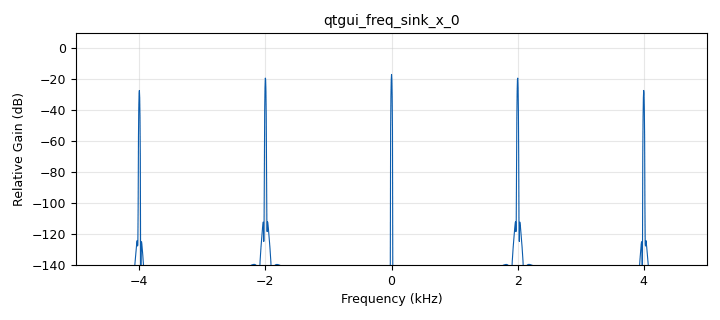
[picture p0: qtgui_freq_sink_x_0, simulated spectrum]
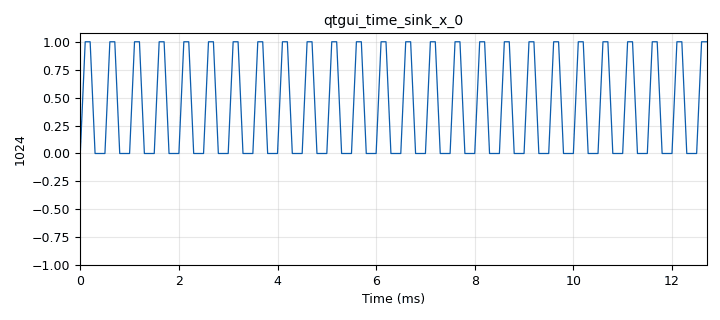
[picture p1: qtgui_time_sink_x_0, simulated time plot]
options:
  parameters:
    author: Kevin_Tellez_B1A_G6
    generate_options: qt_gui
    id: Lab_comu_1
    output_language: python
    title: Practica_1A.2
  states: {}

blocks:
- name: freq
  id: variable_qtgui_range
  parameters:
    label: Frequency
    start: 1e3
    step: 1e3
    stop: 40e3
    value: 2e3
  states: {}
- name: samp_rate
  id: variable_qtgui_range
  parameters:
    label: frecuencia de muestreo
    start: 1e3
    step: 1e3
    stop: 80e3
    value: 10e3
  states: {}
- name: analog_sig_source_x_0
  id: analog_sig_source_x
  parameters:
    amp: '1'
    freq: freq
    offset: '0'
    phase: '0'
    samp_rate: samp_rate
    type: float
    waveform: analog.GR_SQR_WAVE
  states: {}
- name: blocks_throttle2_0
  id: blocks_throttle2
  parameters:
    samples_per_second: samp_rate
    type: float
  states: {}
- name: qtgui_freq_sink_x_0
  id: qtgui_freq_sink_x
  parameters:
    bw: samp_rate
    fc: '0'
    fftsize: '2048'
    label1: Signal 1
    type: float
  states: {}
- name: qtgui_time_sink_x_0
  id: qtgui_time_sink_x
  parameters:
    size: '128'
    srate: samp_rate
    type: float
    ylabel: '1024'
  states: {}

connections:
- [analog_sig_source_x_0, '0', blocks_throttle2_0, '0']
- [blocks_throttle2_0, '0', qtgui_freq_sink_x_0, '0']
- [blocks_throttle2_0, '0', qtgui_time_sink_x_0, '0']

metadata:
  file_format: 1
  grc_version: v3.10.11.0-89-ga17f69e7
